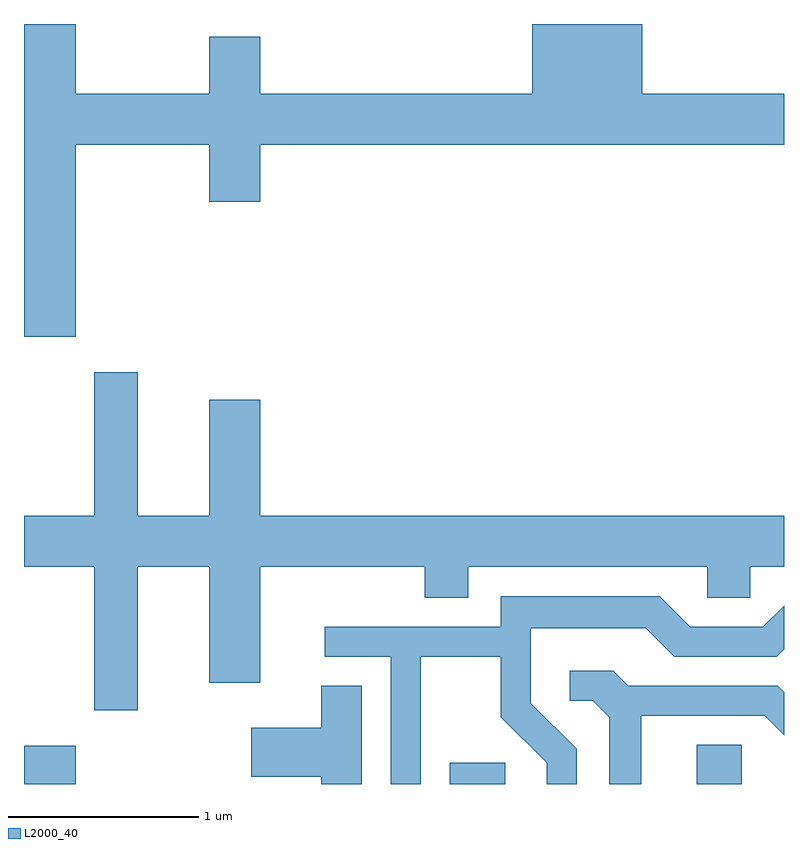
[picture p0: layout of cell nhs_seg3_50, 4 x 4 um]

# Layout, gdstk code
import gdstk
lib = gdstk.Library(unit=1e-6, precision=1e-09)
def R(c, l, rs):  # rectangles x0, y0, x1, y1
    for r in rs: c.add(gdstk.rectangle(r[:2], r[2:], *l))
def P(c, l, *ps):  # polygons
    for p in ps: c.add(gdstk.Polygon(p, *l))
L2000_40 = (2000, 40)

nhs_seg3_50 = lib.new_cell('nhs_seg3_50')
R(nhs_seg3_50, L2000_40, [(185.611,1215.892,185.884,1216.094), (187.851,1215.892,188.144,1216.004), (189.151,1215.892,189.389,1216.099)])
P(nhs_seg3_50, L2000_40, [(185.884,1219.256),(186.586,1219.256),(186.586,1218.956),(186.854,1218.956),(186.854,1219.256),(189.611,1219.256),(189.611,1219.524),(188.864,1219.524),(188.864,1219.892),(188.286,1219.892),(188.286,1219.524),(186.854,1219.524),(186.854,1219.824),(186.586,1219.824),(186.586,1219.524),(185.884,1219.524),(185.884,1219.892),(185.611,1219.892),(185.611,1218.246),(185.884,1218.246)],
  [(186.209,1217.036),(186.586,1217.036),(186.586,1216.426),(186.854,1216.426),(186.854,1217.036),(187.721,1217.036),(187.721,1216.871),(187.949,1216.871),(187.949,1217.036),(189.206,1217.036),(189.206,1216.871),(189.434,1216.871),(189.434,1217.036),(189.611,1217.036),(189.611,1217.304),(186.854,1217.304),(186.854,1217.914),(186.586,1217.914),(186.586,1217.304),(186.209,1217.304),(186.209,1218.059),(185.981,1218.059),(185.981,1217.304),(185.611,1217.304),(185.611,1217.036),(185.981,1217.036),(185.981,1216.281),(186.209,1216.281)],
  [(187.699,1216.561),(188.121,1216.561),(188.121,1216.244),(188.361,1216.004),(188.361,1215.892),(188.519,1215.892),(188.519,1216.077),(188.279,1216.317),(188.279,1216.711),(188.884,1216.711),(189.034,1216.561),(189.572,1216.561),(189.611,1216.6),(189.611,1216.831),(189.499,1216.719),(189.117,1216.719),(188.957,1216.879),(188.121,1216.879),(188.121,1216.719),(187.193,1216.719),(187.193,1216.561),(187.541,1216.561),(187.541,1215.892),(187.699,1215.892)],
  [(188.859,1216.251),(189.509,1216.251),(189.611,1216.149),(189.611,1216.375),(189.577,1216.409),(188.792,1216.409),(188.712,1216.489),(188.483,1216.489),(188.483,1216.331),(188.604,1216.331),(188.691,1216.244),(188.691,1215.892),(188.859,1215.892)],
  [(187.389,1216.409),(187.176,1216.409),(187.176,1216.189),(186.806,1216.189),(186.806,1215.931),(187.176,1215.931),(187.176,1215.892),(187.389,1215.892)])

lib.write_gds('nhs_seg3_50.gds')
